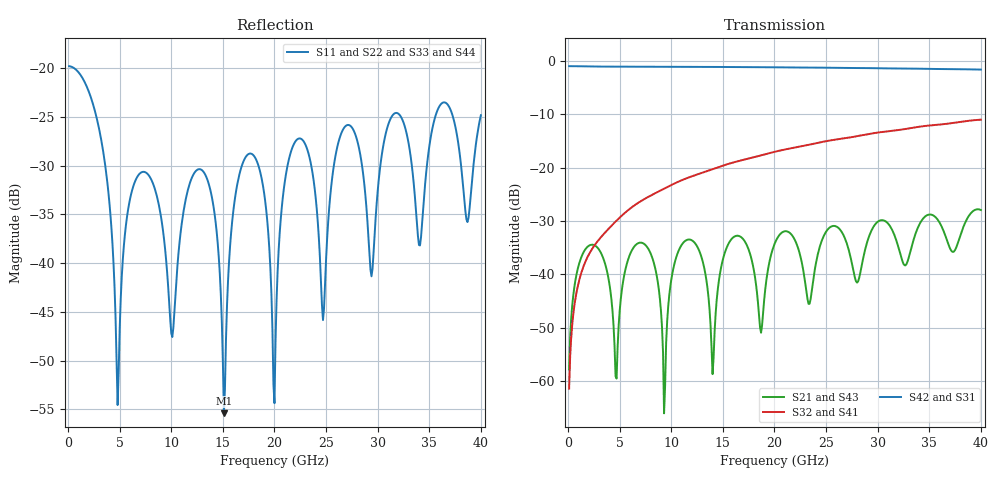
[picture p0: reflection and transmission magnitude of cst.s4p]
! T_ts6_xt_ms_s20: Microstrip aggressor and victim on L1, w 0.265 mm, edge gap 2·w = 0.53 mm, 20 mm
! stackup: ThunderScope Rev5.3 6-layer (FR408HR / FR-4, from the board file)
! ports: 1 near A, 2 near B, 3 far A, 4 far B
! CST Studio Suite 2025.5 Release from 2025-05-30, time domain (FIT, hexahedral, PBA), 173333 mesh cells, 41 s
! mesh: {'lpw': 20, 'lpb': 20, 'minstep': 0.0, 'ratio': 20}; ports: port 1 (face); port 2 (face); port 3 (face); port 4 (face)
! interpolated from CST's 1001 samples to the case grid
# Hz S RI R 50
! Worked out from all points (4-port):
!   400 points, 100 MHz to 40 GHz, reference 50 ohm
!   strongest paths, dB at 100 MHz, 10.1 GHz, 20.1 GHz, 30.1 GHz, 40 GHz:
!     S42: -0.9, -1.1, -1.2, -1.3, -1.6
!     S31: -0.9, -1.1, -1.2, -1.3, -1.6
!     S32: -61.4, -23.1, -17.0, -13.4, -11.0
!     S41: -61.4, -23.1, -17.0, -13.4, -11.0
!     S21: -57.8, -39.9, -33.9, -30.0, -27.9
!     S43: -57.8, -39.9, -33.9, -30.0, -27.9
!   lowest |S11| = -55.4 dB at 15.1 GHz (marker M1), VSWR 1.00, Z = 49.8 + j0.0555 ohm
!   |S11| at or under -10 dB: start of sweep to end of sweep
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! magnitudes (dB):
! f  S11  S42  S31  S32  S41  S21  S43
! 100 MHz  -19.8  -0.9  -0.9  -61.4  -61.4  -57.8  -57.8
! 4.8 GHz  -54.6  -1.0  -1.0  -29.7  -29.7  -53.6  -53.6
! 15.1 GHz  -55.4  -1.1  -1.1  -19.5  -19.5  -36.5  -36.5
! 17.3 GHz  -29.0  -1.1  -1.1  -18.4  -18.4  -34.4  -34.4
! 20 GHz  -54.4  -1.2  -1.2  -17.0  -17.0  -34.3  -34.3
! 22 GHz  -27.5  -1.2  -1.2  -16.2  -16.2  -33.6  -33.6
! 40 GHz  -24.8  -1.6  -1.6  -11.0  -11.0  -27.9  -27.9
